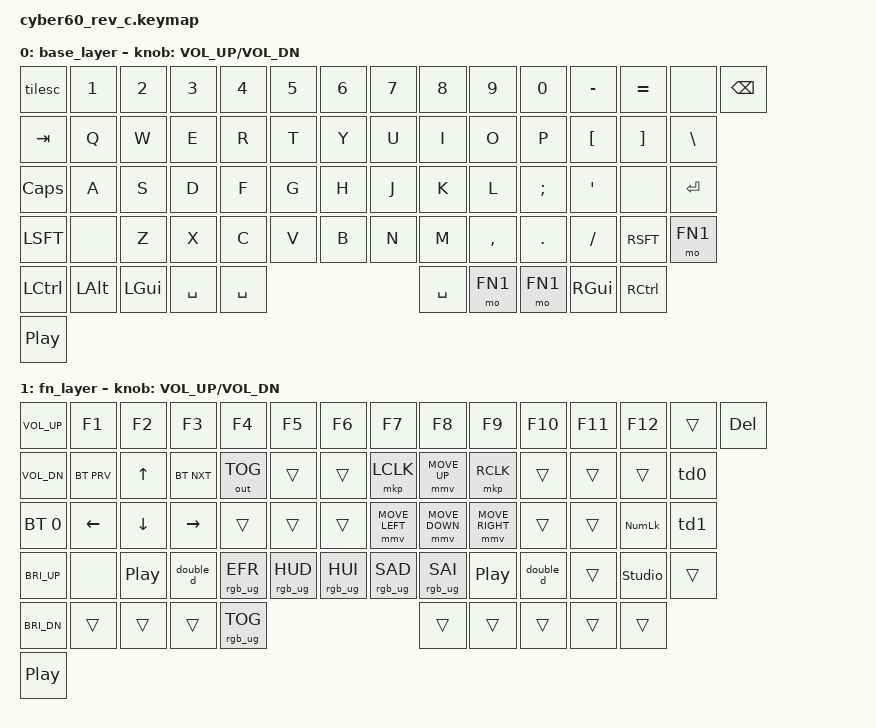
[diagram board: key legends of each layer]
#include <behaviors.dtsi>
#include <dt-bindings/zmk/bt.h>
#include <dt-bindings/zmk/keys.h>
#include <dt-bindings/zmk/rgb.h>
#include <dt-bindings/zmk/outputs.h>

#define ZMK_POINTING_DEFAULT_MOVE_VAL 1500  // default: 600
#define ZMK_POINTING_DEFAULT_SCRL_VAL 20    // default: 10, no scroll added here but leave incase you add in ZMK Studio
#include <dt-bindings/zmk/pointing.h>


#define FN1 1



/ {
    behaviors {
        tilesc: grave_escape {
            compatible = "zmk,behavior-mod-morph";
            #binding-cells = <0>;
            bindings = <&kp ESC>, <&kp TILDE>;
            mods = <(MOD_LSFT|MOD_RSFT)>;
        };
        td0: tap_dance_0 {
            compatible = "zmk,behavior-tap-dance";
            #binding-cells = <0>;
            tapping-term-ms = <200>;
            bindings = <&none>,<&sys_reset>,<&bootloader>;
        };
        td1: tap_dance_1 {
            compatible = "zmk,behavior-tap-dance";
            #binding-cells = <0>;
            tapping-term-ms = <200>;
            bindings = <&none>,<&bt BT_CLR>,<&bt BT_CLR_ALL>;
        };
    };
    macros {
        double_d: double_d {
            compatible = "zmk,behavior-macro";
            #binding-cells = <0>;
            wait-ms = <40>;
            tap-ms = <40>;
            bindings = <&kp D &kp D>;
        };
    };
};

/ {
    keymap {
        compatible = "zmk,keymap";

        base_layer {
            // Base layer
		// ------------------------------------------------------------------------------------------
		// | Esc/~ |  1  |  2  |  3  |  4  |  5  |  6  |  7  |  8  |  9  |  0  |  -  |  =  |  BKSP  |
		// |  TAB |  Q  |  W  |  E  |  R  |  T  |  Y  |  U  |  I  |  O  |  P  |  [  |  ]  |   "|"   |
		// | CAPS  |  A  |  S  |  D  |  F  |  G  |  H  |  J  |  K  |  L  |  ;  |  '  |none| ENTER   |
		// | SHIFT |none| Z |  X  |  C  |  V  |  B  |  N  |  M  |  ,  |  .  |  /  |    Shift   | FN |
		// |  LCTL  |  LALT  |  LWIN  | SPACE  | SPACE |    SPACE   |  FN   |  FN  |  RGUI  | RCTRL |
		// | Rotary | (<-- Rotary switch) ----------------------------------------------------------- 
	bindings = <
	&tilesc		 &kp NUM_1 	&kp NUM_2	&kp NUM_3 	&kp NUM_4 &kp NUM_5 &kp NUM_6 	&kp NUM_7 	&kp NUM_8 &kp NUM_9	&kp NUM_0	&kp MINUS	&kp EQL  	&none	&kp BKSP
	&kp TAB		 &kp   Q   	&kp   W   	&kp   E   	&kp   R   &kp   T   &kp   Y   	&kp   U   	&kp   I   &kp   O   &kp   P   	&kp LBKT 	&kp RBKT	&kp BSLH
	&kp CLCK 	 &kp   A   	&kp   S   	&kp   D   	&kp   F   &kp   G   &kp   H   	&kp   J   	&kp   K   &kp   L   &kp  SCLN  	&kp  QUOT   &none		&kp RET
	&kp LSFT 	 &none		&kp   Z   	&kp   X   	&kp   C   &kp   V   &kp   B   	&kp   N   	&kp   M   &kp  CMMA &kp  DOT  	&kp  FSLH	&kp RSFT 	&mo FN1
	&kp LCTL 	 &kp LALT   &kp   LGUI				&kp SPC			&kp SPC			&kp  SPC  			 &mo FN1 &mo FN1 	&kp RGUI	&kp RCTL		
	&kp C_PP
			>;
            sensor-bindings = <&inc_dec_kp C_VOL_UP C_VOL_DN>;
        };

        fn_layer {
	    // Function layer
	    // ------------------------------------------------------------------------------------------
	    // |  V+  |  F1 |  F2 |  F3 |  F4 |  F5 |  F6 |  F7 |  F8 |  F9 | F10 | F11 | F12 |INS | DEL|
	    // |  V-  |BTPRV|  UP |BTNXT|OUT-TOGG|TRNS| MB1 | MUP | MB2 | TRNS | TRNS |TRNS |TRNS | flash|
        // | BT0  |LEFT |DOWN |RIGHT|TRNS |TRNS |TRNS | MLFT| MDWN |MRGT| TRNS |TRNS | NLCK | BTClear|
        // | Bri+ |TRNS|TRNS|TRNS|TRNS | TRNS| TRNS | TRNS | TRNS| TRNS | TRNS| TRNS | STUDIO_T |TRNS|
        // | Bri- | TRNS | TRNS |      TRNS      | RGB_T |    TRNS    |  TRNS |  TRNS  | TRNS | TRNS |
        // | Rotary | (<-- Rotary switch) ----------------------------------------------------------- 

            bindings = <
&kp C_VOL_UP  &kp F1    &kp F2           &kp F3           &kp F4           &kp F5           &kp F6           &kp F7           &kp F8           &kp F9          &kp F10   &kp F11  &kp F12  &trans      &kp DEL
&kp C_VOL_DN  &bt BT_PRV    &kp UP       &bt BT_NXT       &out OUT_TOG     &trans           &trans           &mkp LCLK        &mmv MOVE_UP     &mkp RCLK       &trans    &trans   &trans   &td0
&bt BT_SEL 0  &kp LEFT  &kp DOWN         &kp RIGHT        &trans           &trans           &trans           &mmv MOVE_LEFT  &mmv MOVE_DOWN    &mmv MOVE_RIGHT &trans    &trans   &kp KP_NLCK   &td1
&kp C_BRI_UP  &none     &kp C_PLAY_PAUSE &double_d  &rgb_ug RGB_EFR  &rgb_ug RGB_HUD  &rgb_ug RGB_HUI  &rgb_ug RGB_SAD  &rgb_ug RGB_SAI  &kp C_PLAY_PAUSE          &double_d    &trans  &studio_unlock   &trans
&kp C_BRI_DN  &trans    &trans           &trans           &rgb_ug RGB_TOG  &trans           &trans           &trans           &trans           &trans
&kp C_PP
            >;

            sensor-bindings = <&inc_dec_kp C_VOL_UP C_VOL_DN>;
        };

        extra1 {
            status = "reserved";
        };

        extra2 {
            status = "reserved";
        };
    };
};
